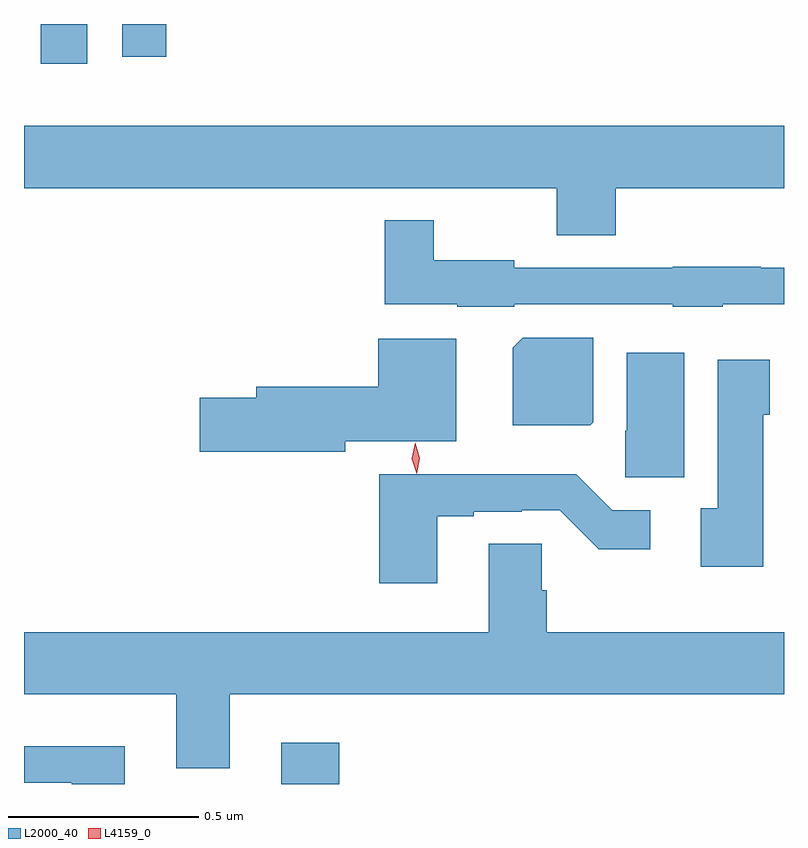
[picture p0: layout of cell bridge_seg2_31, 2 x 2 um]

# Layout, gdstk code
import gdstk
lib = gdstk.Library(unit=1e-6, precision=1e-09)
def R(c, l, rs):  # rectangles x0, y0, x1, y1
    for r in rs: c.add(gdstk.rectangle(r[:2], r[2:], *l))
def P(c, l, *ps):  # polygons
    for p in ps: c.add(gdstk.Polygon(p, *l))
L2000_40 = (2000, 40)
L4159_0 = (4159, 0)

bridge_seg2_31 = lib.new_cell('bridge_seg2_31')
R(bridge_seg2_31, L2000_40, [(702.569,604.776,702.722,604.885), (701.936,606.672,702.058,606.776), (702.15,606.69,702.266,606.776)])
P(bridge_seg2_31, L2000_40, [(703.449,606.344),(703.892,606.344),(703.892,606.508),(701.892,606.508),(701.892,606.344),(703.294,606.344),(703.294,606.22),(703.449,606.22)],
  [(703.182,606.039),(703.599,606.039),(703.599,606.032),(703.731,606.032),(703.731,606.038),(703.892,606.038),(703.892,606.135),(703.831,606.135),(703.831,606.137),(703.599,606.137),(703.599,606.135),(703.182,606.135),(703.182,606.154),(702.97,606.154),(702.97,606.259),(702.841,606.259),(702.841,606.038),(703.032,606.038),(703.032,606.032),(703.182,606.032)],
  [(703.39,605.728),(703.39,605.95),(703.204,605.95),(703.178,605.924),(703.178,605.72),(703.382,605.72)],
  [(702.738,605.678),(703.03,605.678),(703.03,605.948),(702.824,605.948),(702.824,605.822),(702.503,605.822),(702.503,605.792),(702.354,605.792),(702.354,605.65),(702.738,605.65)],
  [(703.63,605.911),(703.478,605.911),(703.478,605.706),(703.474,605.706),(703.474,605.583),(703.63,605.583)],
  [(703.837,605.748),(703.855,605.748),(703.855,605.893),(703.718,605.893),(703.718,605.502),(703.673,605.502),(703.673,605.348),(703.837,605.348)],
  [(702.979,605.481),(703.075,605.481),(703.075,605.493),(703.202,605.493),(703.202,605.496),(703.302,605.496),(703.405,605.394),(703.54,605.394),(703.54,605.496),(703.44,605.496),(703.345,605.591),(702.827,605.591),(702.827,605.304),(702.979,605.304)],
  [(702.433,605.012),(703.892,605.012),(703.892,605.176),(703.268,605.176),(703.268,605.286),(703.254,605.286),(703.254,605.408),(703.115,605.408),(703.115,605.176),(701.892,605.176),(701.892,605.012),(702.293,605.012),(702.293,604.818),(702.433,604.818)],
  [(702.157,604.876),(701.892,604.876),(701.892,604.779),(702.017,604.779),(702.017,604.776),(702.157,604.776)])
P(bridge_seg2_31, L4159_0, [(702.925,605.592),(702.925,605.592),(702.913,605.632),(702.921,605.674),(702.921,605.674),(702.921,605.674),(702.933,605.633),(702.926,605.592)])

lib.write_gds('bridge_seg2_31.gds')
